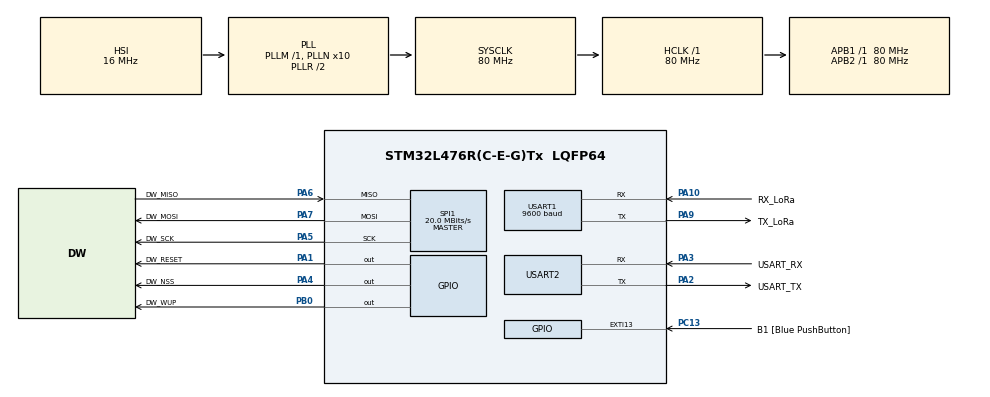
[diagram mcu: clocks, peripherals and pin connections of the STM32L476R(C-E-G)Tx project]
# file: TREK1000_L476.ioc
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Mcu.Family=STM32L4
Mcu.Name=STM32L476R(C-E-G)Tx
Mcu.Package=LQFP64
NVIC.PriorityGroup=NVIC_PRIORITYGROUP_4
NVIC.USART1_IRQn=true\:0\:0\:false\:false\:true\:true\:true
PA0.GPIO_Label=DW_IRQ
PA0.Mode=SYS_WakeUp0
PA0.Signal=SYS_WKUP1
PA1.GPIO_Label=DW_RESET
PA1.GPIO_ModeDefaultOutputPP=GPIO_MODE_OUTPUT_OD
PA1.GPIO_Speed=GPIO_SPEED_FREQ_HIGH
PA1.PinState=GPIO_PIN_SET
PA1.Signal=GPIO_Output
PA10.GPIO_Label=RX_LoRa
PA10.Mode=Asynchronous
PA10.Signal=USART1_RX
PA13\ (JTMS-SWDIO).GPIO_Label=TMS
PA13\ (JTMS-SWDIO).Mode=Serial_Wire
PA13\ (JTMS-SWDIO).Signal=SYS_JTMS-SWDIO
PA14\ (JTCK-SWCLK).GPIO_Label=TCK
PA14\ (JTCK-SWCLK).Mode=Serial_Wire
PA14\ (JTCK-SWCLK).Signal=SYS_JTCK-SWCLK
PA2.GPIO_Label=USART_TX
PA2.GPIO_Mode=GPIO_MODE_AF_PP
PA2.GPIO_PuPd=GPIO_NOPULL
PA2.GPIO_Speed=GPIO_SPEED_FREQ_VERY_HIGH
PA2.Mode=Asynchronous
PA2.Signal=USART2_TX
PA3.GPIO_Label=USART_RX
PA3.GPIO_Mode=GPIO_MODE_AF_PP
PA3.GPIO_PuPd=GPIO_NOPULL
PA3.GPIO_Speed=GPIO_SPEED_FREQ_VERY_HIGH
PA3.Mode=Asynchronous
PA3.Signal=USART2_RX
PA4.GPIO_Label=DW_NSS
PA4.GPIO_Speed=GPIO_SPEED_FREQ_HIGH
PA4.PinState=GPIO_PIN_SET
PA4.Signal=GPIO_Output
PA5.GPIO_Label=DW_SCK
PA5.GPIO_Speed=GPIO_SPEED_FREQ_HIGH
PA5.Mode=Full_Duplex_Master
PA5.Signal=SPI1_SCK
PA6.GPIO_Label=DW_MISO
PA6.GPIO_PuPd=GPIO_PULLUP
PA6.GPIO_Speed=GPIO_SPEED_FREQ_HIGH
PA6.Mode=Full_Duplex_Master
PA6.Signal=SPI1_MISO
PA7.GPIO_Label=DW_MOSI
PA7.GPIO_Speed=GPIO_SPEED_FREQ_HIGH
PA7.Mode=Full_Duplex_Master
PA7.Signal=SPI1_MOSI
PA9.GPIO_Label=TX_LoRa
PA9.Mode=Asynchronous
PA9.Signal=USART1_TX
PB0.GPIO_Label=DW_WUP
PB0.GPIO_ModeDefaultOutputPP=GPIO_MODE_OUTPUT_OD
PB0.GPIO_Speed=GPIO_SPEED_FREQ_HIGH
PB0.PinState=GPIO_PIN_SET
PB0.Signal=GPIO_Output
PB3\ (JTDO-TRACESWO).GPIO_Label=SWO
PB3\ (JTDO-TRACESWO).Signal=SYS_JTDO-SWO
PC13.GPIO_Label=B1 [Blue PushButton]
PC13.GPIO_ModeDefaultEXTI=GPIO_MODE_IT_FALLING
PC13.GPIO_PuPd=GPIO_NOPULL
PC13.Signal=GPXTI13
PC14-OSC32_IN\ (PC14).Mode=LSE-External-Oscillator
PC14-OSC32_IN\ (PC14).Signal=RCC_OSC32_IN
PC15-OSC32_OUT\ (PC15).Mode=LSE-External-Oscillator
PC15-OSC32_OUT\ (PC15).Signal=RCC_OSC32_OUT
PH0-OSC_IN\ (PH0).Signal=RCC_OSC_IN
PH1-OSC_OUT\ (PH1).Signal=RCC_OSC_OUT
ProjectManager.HeapSize=0x200
ProjectManager.StackSize=0x400
ProjectManager.TargetToolchain=SW4STM32
RCC.ADCFreq_Value=64000000
RCC.AHBFreq_Value=80000000
RCC.APB1Freq_Value=80000000
RCC.APB1TimFreq_Value=80000000
RCC.APB2Freq_Value=80000000
RCC.APB2TimFreq_Value=80000000
RCC.CortexFreq_Value=80000000
RCC.HCLKFreq_Value=80000000
RCC.HSE_VALUE=8000000
RCC.HSI_VALUE=16000000
RCC.MSI_VALUE=4000000
RCC.PLLN=10
RCC.PLLSourceVirtual=RCC_PLLSOURCE_HSI
RCC.PREFETCH_ENABLE=1
RCC.SYSCLKFreq_VALUE=80000000
RCC.SYSCLKSource=RCC_SYSCLKSOURCE_PLLCLK
RCC.USBFreq_Value=64000000
RCC.VCOOutputFreq_Value=160000000
SPI1.BaudRatePrescaler=SPI_BAUDRATEPRESCALER_4
SPI1.CalculateBaudRate=20.0 MBits/s
SPI1.DataSize=SPI_DATASIZE_8BIT
SPI1.Direction=SPI_DIRECTION_2LINES
SPI1.Mode=SPI_MODE_MASTER
SPI1.VirtualType=VM_MASTER
USART1.BaudRate=9600
USART1.VirtualMode-Asynchronous=VM_ASYNC
USART2.VirtualMode-Asynchronous=VM_ASYNC
board=NUCLEO-L476RG

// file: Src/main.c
/* USER CODE BEGIN Header */
/**
  ******************************************************************************
  * @file           : main.c
  * @brief          : Main program body
  ******************************************************************************
  * @attention
  *
  * <h2><center>&copy; Copyright (c) 2019 STMicroelectronics.
  * All rights reserved.</center></h2>
  *
  * This software component is licensed by ST under BSD 3-Clause license,
  * the "License"; You may not use this file except in compliance with the
  * License. You may obtain a copy of the License at:
  *                        opensource.org/licenses/BSD-3-Clause
  *
  ******************************************************************************
  */
/* USER CODE END Header */

#include "main.h"

/* USER CODE BEGIN Includes */
#include <stdio.h>
#include <string.h>

#include "device.h"
#include "GPIO.h"
#include "LoRadriver/LoRadriver.h"
/* USER CODE END Includes */

/* USER CODE BEGIN PD */
#define DS_TWR_TAG  1
#define DS_TWR_ANCH 2
#define DW_MAIN     3

/* USER CODE END PD */

SPI_HandleTypeDef hspi1;

UART_HandleTypeDef huart1;
UART_HandleTypeDef huart2;

void SystemClock_Config(void);
static void MX_GPIO_Init(void);
static void MX_SPI1_Init(void);
static void MX_USART2_UART_Init(void);
static void MX_USART1_UART_Init(void);
/* USER CODE BEGIN PFP */
static void MX_GPIO_Init_Dev(void);
void print_len(unsigned char * cmd, int size);
void println_len(unsigned char * cmd, int size);
void print(char * str);
void println(char * str);

/* USER CODE END PFP */

int main(void)
{

	/* MCU Configuration--------------------------------------------------------*/

	/* Reset of all peripherals, Initializes the Flash interface and the Systick. */
	HAL_Init();

	/* Configure the system clock */
	SystemClock_Config();

	/* USER CODE BEGIN SysInit */
#if STOP_MODE
	__HAL_RCC_PWR_CLK_ENABLE();
	__HAL_RCC_WAKEUPSTOP_CLK_CONFIG(RCC_STOP_WAKEUPCLOCK_HSI);
#endif

	MX_GPIO_Init_Dev();
	/* USER CODE END SysInit */

	/* Initialize all configured peripherals */
	//MX_GPIO_Init();
	MX_SPI1_Init();
	MX_USART2_UART_Init();
	MX_USART1_UART_Init();
	/* USER CODE BEGIN 2 */

	int init = 1;

	if (__HAL_PWR_GET_FLAG(PWR_FLAG_WUF1) != RESET) {
		init = 0;
		dwt_setlowpowerlistening(0);
		println("b");
		__HAL_PWR_CLEAR_FLAG(PWR_FLAG_WUF1);
	}

	if (init) {
	  println("----- MAIN_DS_TWR -----");
	}
	main_ds_twr(init);

	/* USER CODE END 2 */

	/* Infinite loop */
	while (1)
	{

	}
}

void SystemClock_Config(void)
{
  RCC_OscInitTypeDef RCC_OscInitStruct = {0};
  RCC_ClkInitTypeDef RCC_ClkInitStruct = {0};
  RCC_PeriphCLKInitTypeDef PeriphClkInit = {0};

  /** Initializes the CPU, AHB and APB busses clocks
  */
  RCC_OscInitStruct.OscillatorType = RCC_OSCILLATORTYPE_HSI;
  RCC_OscInitStruct.HSIState = RCC_HSI_ON;
  RCC_OscInitStruct.HSICalibrationValue = RCC_HSICALIBRATION_DEFAULT;
  RCC_OscInitStruct.PLL.PLLState = RCC_PLL_ON;
  RCC_OscInitStruct.PLL.PLLSource = RCC_PLLSOURCE_HSI;
  RCC_OscInitStruct.PLL.PLLM = 1;
  RCC_OscInitStruct.PLL.PLLN = 10;
  RCC_OscInitStruct.PLL.PLLP = RCC_PLLP_DIV7;
  RCC_OscInitStruct.PLL.PLLQ = RCC_PLLQ_DIV2;
  RCC_OscInitStruct.PLL.PLLR = RCC_PLLR_DIV2;
  if (HAL_RCC_OscConfig(&RCC_OscInitStruct) != HAL_OK)
  {
    Error_Handler();
  }
  /** Initializes the CPU, AHB and APB busses clocks
  */
  RCC_ClkInitStruct.ClockType = RCC_CLOCKTYPE_HCLK|RCC_CLOCKTYPE_SYSCLK
                              |RCC_CLOCKTYPE_PCLK1|RCC_CLOCKTYPE_PCLK2;
  RCC_ClkInitStruct.SYSCLKSource = RCC_SYSCLKSOURCE_PLLCLK;
  RCC_ClkInitStruct.AHBCLKDivider = RCC_SYSCLK_DIV1;
  RCC_ClkInitStruct.APB1CLKDivider = RCC_HCLK_DIV1;
  RCC_ClkInitStruct.APB2CLKDivider = RCC_HCLK_DIV1;

  if (HAL_RCC_ClockConfig(&RCC_ClkInitStruct, FLASH_LATENCY_4) != HAL_OK)
  {
    Error_Handler();
  }
  PeriphClkInit.PeriphClockSelection = RCC_PERIPHCLK_USART1|RCC_PERIPHCLK_USART2;
  PeriphClkInit.Usart1ClockSelection = RCC_USART1CLKSOURCE_PCLK2;
  PeriphClkInit.Usart2ClockSelection = RCC_USART2CLKSOURCE_PCLK1;
  if (HAL_RCCEx_PeriphCLKConfig(&PeriphClkInit) != HAL_OK)
  {
    Error_Handler();
  }
  /** Configure the main internal regulator output voltage
  */
  if (HAL_PWREx_ControlVoltageScaling(PWR_REGULATOR_VOLTAGE_SCALE1) != HAL_OK)
  {
    Error_Handler();
  }
}

static void MX_SPI1_Init(void)
{

  /* SPI1 parameter configuration*/
  hspi1.Instance = SPI1;
  hspi1.Init.Mode = SPI_MODE_MASTER;
  hspi1.Init.Direction = SPI_DIRECTION_2LINES;
  hspi1.Init.DataSize = SPI_DATASIZE_8BIT;
  hspi1.Init.CLKPolarity = SPI_POLARITY_LOW;
  hspi1.Init.CLKPhase = SPI_PHASE_1EDGE;
  hspi1.Init.NSS = SPI_NSS_SOFT;
  hspi1.Init.BaudRatePrescaler = SPI_BAUDRATEPRESCALER_4;
  hspi1.Init.FirstBit = SPI_FIRSTBIT_MSB;
  hspi1.Init.TIMode = SPI_TIMODE_DISABLE;
  hspi1.Init.CRCCalculation = SPI_CRCCALCULATION_DISABLE;
  hspi1.Init.CRCPolynomial = 10;
  hspi1.Init.CRCLength = SPI_CRC_LENGTH_DATASIZE;
  hspi1.Init.NSSPMode = SPI_NSS_PULSE_ENABLE;
  if (HAL_SPI_Init(&hspi1) != HAL_OK)
  {
    Error_Handler();
  }

}

static void MX_USART1_UART_Init(void)
{

  huart1.Instance = USART1;
  huart1.Init.BaudRate = 9600;
  huart1.Init.WordLength = UART_WORDLENGTH_8B;
  huart1.Init.StopBits = UART_STOPBITS_1;
  huart1.Init.Parity = UART_PARITY_NONE;
  huart1.Init.Mode = UART_MODE_TX_RX;
  huart1.Init.HwFlowCtl = UART_HWCONTROL_NONE;
  huart1.Init.OverSampling = UART_OVERSAMPLING_16;
  huart1.Init.OneBitSampling = UART_ONE_BIT_SAMPLE_DISABLE;
  huart1.AdvancedInit.AdvFeatureInit = UART_ADVFEATURE_NO_INIT;
  if (HAL_UART_Init(&huart1) != HAL_OK)
  {
	  println("error");
    Error_Handler();
  }
  /* USER CODE BEGIN USART1_Init 2 */
  //HAL_NVIC_EnableIRQ(USART1_IRQn);
  huart1.Instance->CR1 = USART_CR1_RE | USART_CR1_TE | USART_CR1_UE | USART_CR1_RXNEIE;
  /* USER CODE END USART1_Init 2 */

}

static void MX_USART2_UART_Init(void)
{

  huart2.Instance = USART2;
  huart2.Init.BaudRate = 115200;
  huart2.Init.WordLength = UART_WORDLENGTH_8B;
  huart2.Init.StopBits = UART_STOPBITS_1;
  huart2.Init.Parity = UART_PARITY_NONE;
  huart2.Init.Mode = UART_MODE_TX_RX;
  huart2.Init.HwFlowCtl = UART_HWCONTROL_NONE;
  huart2.Init.OverSampling = UART_OVERSAMPLING_16;
  huart2.Init.OneBitSampling = UART_ONE_BIT_SAMPLE_DISABLE;
  huart2.AdvancedInit.AdvFeatureInit = UART_ADVFEATURE_NO_INIT;
  if (HAL_UART_Init(&huart2) != HAL_OK)
  {
    Error_Handler();
  }

}

/*static void MX_GPIO_Init(void)
{
  GPIO_InitTypeDef GPIO_InitStruct = {0};

  __HAL_RCC_GPIOC_CLK_ENABLE();
  __HAL_RCC_GPIOH_CLK_ENABLE();
  __HAL_RCC_GPIOA_CLK_ENABLE();
  __HAL_RCC_GPIOB_CLK_ENABLE();

  HAL_GPIO_WritePin(GPIOA, DW_RESET_Pin|DW_NSS_Pin, GPIO_PIN_SET);

  HAL_GPIO_WritePin(DW_WUP_GPIO_Port, DW_WUP_Pin, GPIO_PIN_SET);

  GPIO_InitStruct.Pin = B1_Pin;
  GPIO_InitStruct.Mode = GPIO_MODE_IT_FALLING;
  GPIO_InitStruct.Pull = GPIO_NOPULL;
  HAL_GPIO_Init(B1_GPIO_Port, &GPIO_InitStruct);

  GPIO_InitStruct.Pin = DW_RESET_Pin;
  GPIO_InitStruct.Mode = GPIO_MODE_OUTPUT_OD;
  GPIO_InitStruct.Pull = GPIO_NOPULL;
  GPIO_InitStruct.Speed = GPIO_SPEED_FREQ_HIGH;
  HAL_GPIO_Init(DW_RESET_GPIO_Port, &GPIO_InitStruct);

  GPIO_InitStruct.Pin = DW_NSS_Pin;
  GPIO_InitStruct.Mode = GPIO_MODE_OUTPUT_PP;
  GPIO_InitStruct.Pull = GPIO_NOPULL;
  GPIO_InitStruct.Speed = GPIO_SPEED_FREQ_HIGH;
  HAL_GPIO_Init(DW_NSS_GPIO_Port, &GPIO_InitStruct);

  GPIO_InitStruct.Pin = DW_WUP_Pin;
  GPIO_InitStruct.Mode = GPIO_MODE_OUTPUT_OD;
  GPIO_InitStruct.Pull = GPIO_NOPULL;
  GPIO_InitStruct.Speed = GPIO_SPEED_FREQ_HIGH;
  HAL_GPIO_Init(DW_WUP_GPIO_Port, &GPIO_InitStruct);

}*/

/* USER CODE BEGIN 4 */

/**
  * @brief GPIO Initialization Function
  * @param None
  * @retval None
  */
static void MX_GPIO_Init_Dev(void)
{
  GPIO_InitTypeDef GPIO_InitStruct = {0};

  /* GPIO Ports Clock Enable */
  __HAL_RCC_GPIOC_CLK_ENABLE();
  __HAL_RCC_GPIOH_CLK_ENABLE();
  __HAL_RCC_GPIOA_CLK_ENABLE();
  __HAL_RCC_GPIOB_CLK_ENABLE();

  /*Configure GPIO pin Output Level */
  HAL_GPIO_WritePin(DW_RESET_GPIO_Port, DW_RESET_Pin, GPIO_PIN_SET);

  /*Configure GPIO pin Output Level */
  HAL_GPIO_WritePin(DW_NSS_GPIO_Port, DW_NSS_Pin, GPIO_PIN_SET);

  /*Configure GPIO pin Output Level */
  HAL_GPIO_WritePin(DW_WUP_GPIO_Port, DW_WUP_Pin, GPIO_PIN_SET);

  HAL_GPIO_WritePin(LED_Port, LED_Pin, GPIO_PIN_RESET);

  /*Configure GPIO pin : B1_Pin */
  /*GPIO_InitStruct.Pin = B1_Pin;
  GPIO_InitStruct.Mode = GPIO_MODE_IT_FALLING;
  GPIO_InitStruct.Pull = GPIO_NOPULL;
  HAL_GPIO_Init(B1_GPIO_Port, &GPIO_InitStruct);*/

  /*Configure GPIO pin : DW_RESET_Pin */
  GPIO_InitStruct.Pin = DW_RESET_Pin;
  GPIO_InitStruct.Mode = GPIO_MODE_OUTPUT_OD;
  GPIO_InitStruct.Pull = GPIO_PULLUP;
  GPIO_InitStruct.Speed = GPIO_SPEED_FREQ_HIGH;
  HAL_GPIO_Init(DW_RESET_GPIO_Port, &GPIO_InitStruct);

  /*Configure GPIO pin : DW_NSS_Pin */
  GPIO_InitStruct.Pin = DW_NSS_Pin;
  GPIO_InitStruct.Mode = GPIO_MODE_OUTPUT_PP;
  GPIO_InitStruct.Pull = GPIO_NOPULL;
  GPIO_InitStruct.Speed = GPIO_SPEED_FREQ_HIGH;
  HAL_GPIO_Init(DW_NSS_GPIO_Port, &GPIO_InitStruct);

  /*Configure GPIO pin : DW_WUP_Pin */
  GPIO_InitStruct.Pin = DW_WUP_Pin;
  GPIO_InitStruct.Mode = GPIO_MODE_OUTPUT_OD;
  GPIO_InitStruct.Pull = GPIO_NOPULL;
  GPIO_InitStruct.Speed = GPIO_SPEED_FREQ_HIGH;
  HAL_GPIO_Init(DW_WUP_GPIO_Port, &GPIO_InitStruct);

  /*Configure GPIO pin : LED_Pin */
  GPIO_InitStruct.Pin = LED_Pin;
  GPIO_InitStruct.Mode = GPIO_MODE_OUTPUT_PP;
  GPIO_InitStruct.Pull = GPIO_NOPULL;
  GPIO_InitStruct.Speed = GPIO_SPEED_FREQ_LOW;
  HAL_GPIO_Init(LED_Port, &GPIO_InitStruct);

  GPIO_InitStruct.Pin = DW_IRQn_Pin;
  GPIO_InitStruct.Mode = GPIO_MODE_IT_RISING;
  GPIO_InitStruct.Pull = GPIO_PULLDOWN;
  HAL_GPIO_Init(DW_IRQn_GPIO_Port, &GPIO_InitStruct);

  HAL_NVIC_SetPriority(EXTI0_IRQn, 4, 0);
  HAL_NVIC_EnableIRQ(EXTI0_IRQn);
}

void print_len(unsigned char * cmd, int size) {
	HAL_UART_Transmit(&huart2, (uint8_t*)cmd, size, 0xFFFF);
}

void println_len(unsigned char * cmd, int size) {
	HAL_UART_Transmit(&huart2, (uint8_t*)cmd, size, 0xFFFF);
	HAL_UART_Transmit(&huart2, (uint8_t*)"\n", 1, 0xFFFF);
}

void print(char * str) {
	HAL_UART_Transmit(&huart2, (uint8_t*)str, strlen(str), 0xFFFF);
}

void println(char * str) {
	HAL_UART_Transmit(&huart2, (uint8_t*)str, strlen(str), 0xFFFF);
	HAL_UART_Transmit(&huart2, (uint8_t*) "\r\n", 2, 0xFFFF);
}
/* USER CODE END 4 */

void Error_Handler(void)
{
  /* USER CODE BEGIN Error_Handler_Debug */
	int i = 0;
  /* User can add his own implementation to report the HAL error return state */
			i++;
			println("error handler");
  /* USER CODE END Error_Handler_Debug */
}

/************************ (C) COPYRIGHT STMicroelectronics *****END OF FILE****/
